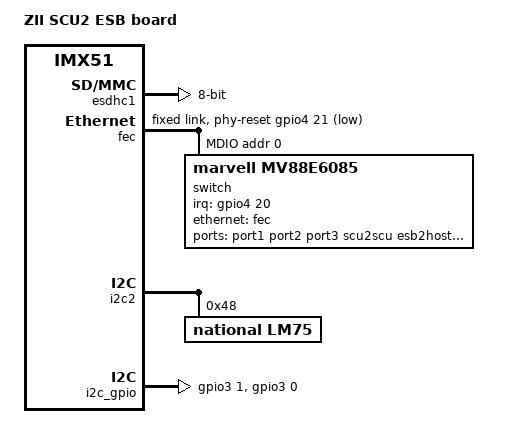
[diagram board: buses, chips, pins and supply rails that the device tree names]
// SPDX-License-Identifier: (GPL-2.0 OR MIT)
// Copyright (C) 2018 Zodiac Inflight Innovations

/dts-v1/;
#include "imx51-zii-common.dtsi"

/ {
	model = "ZII SCU2 ESB board";
	compatible = "zii,imx51-scu2-esb", "fsl,imx51";
};

&esdhc1 {
	pinctrl-names = "default";
	pinctrl-0 = <&pinctrl_esdhc1_4bit &pinctrl_esdhc1_8bit>;
	bus-width = <8>;
};

&fec {
	phy-reset-gpios = <&gpio4 21 GPIO_ACTIVE_LOW>;

	fixed-link {
		speed = <100>;
		full-duplex;
	};

	fec_mdio: mdio {
		#address-cells = <1>;
		#size-cells = <0>;
		status = "okay";

		switch@0 {
			compatible = "marvell,mv88e6085";
			reg = <0>;
			dsa,member = <0 0>;
			eeprom-length = <512>;
			interrupt-parent = <&gpio4>;
			interrupts = <20 IRQ_TYPE_LEVEL_HIGH>;
			interrupt-controller;
			#interrupt-cells = <2>;

			ports {
				#address-cells = <1>;
				#size-cells = <0>;

				port@0 {
					reg = <0>;
					label = "port1";
				};

				port@1 {
					reg = <1>;
					label = "port2";
				};

				port@2 {
					reg = <2>;
					label = "port3";
				};

				port@3 {
					reg = <3>;
					label = "scu2scu";
				};

				port@4 {
					reg = <4>;
					label = "esb2host";
				};
				port@5 {
					reg = <5>;
					label = "esb2mezz";
					phy-mode = "sgmii";

					fixed-link {
						speed = <1000>;
						full-duplex;
					};
				};
				port@6 {
					reg = <6>;
					label = "cpu";
					phy-mode = "mii";
					ethernet = <&fec>;

					fixed-link {
						speed = <100>;
						full-duplex;
					};
				};
			};
		};
	};
};

&i2c2 {
	lm75@48 {
		compatible = "national,lm75";
		reg = <0x48>;
	};
};

&i2c_gpio {
	gpios = <&gpio3 1 GPIO_ACTIVE_HIGH>, /* sda */
		<&gpio3 0 GPIO_ACTIVE_HIGH>; /* scl */
};

&ipu {
	status = "disabled";
};

&usb_vbus {
	pinctrl-names = "default";
	pinctrl-0 = <&pinctrl_usb_mmc_reset>;
	gpio = <&gpio4 19 GPIO_ACTIVE_LOW>;
	startup-delay-us = <150000>;
};

&iomuxc {
	pinctrl_fec: fecgrp {
		fsl,pins = <
			MX51_PAD_DISP2_DAT15__FEC_TDATA0	0x2004
			MX51_PAD_DISP2_DAT6__FEC_TDATA1		0x2004
			MX51_PAD_DISP2_DAT7__FEC_TDATA2		0x2004
			MX51_PAD_DISP2_DAT8__FEC_TDATA3		0x2004
			MX51_PAD_DISP2_DAT9__FEC_TX_EN		0x2004
			MX51_PAD_DISP2_DAT10__FEC_COL		0x0180
			MX51_PAD_DISP2_DAT11__FEC_RX_CLK	0x0180
			MX51_PAD_DISP2_DAT12__FEC_RX_DV		0x20a4
			MX51_PAD_DISP2_DAT13__FEC_TX_CLK	0x2180
			MX51_PAD_DISP2_DAT14__FEC_RDATA0	0x2180
			MX51_PAD_DI2_DISP_CLK__FEC_RDATA1	0x0085
			MX51_PAD_DI_GP4__FEC_RDATA2		0x0085
			MX51_PAD_DISP2_DAT0__FEC_RDATA3		0x0085
			MX51_PAD_DI2_PIN2__FEC_MDC		0x2004
			MX51_PAD_DI2_PIN3__FEC_MDIO		0x01f5
			MX51_PAD_DI2_PIN4__FEC_CRS		0x0180
			MX51_PAD_AUD3_BB_FS__GPIO4_21		0x0000
		>;
	};

	pinctrl_swi2c: swi2cgrp {
		fsl,pins = <
			MX51_PAD_DI1_PIN11__GPIO3_0		0x100
			MX51_PAD_DI1_PIN12__GPIO3_1		0x100
		>;
	};

	pinctrl_uart1: uart1grp {
		fsl,pins = <
			MX51_PAD_UART1_RXD__UART1_RXD		0x1c5
			MX51_PAD_UART1_TXD__UART1_TXD		0x1c5
			MX51_PAD_UART1_RTS__UART1_RTS		0x1c5
			MX51_PAD_UART1_CTS__UART1_CTS		0x1c5
		>;
	};

	pinctrl_uart2: uart2grp {
		fsl,pins = <
			MX51_PAD_UART2_RXD__UART2_RXD		0x1c5
			MX51_PAD_UART2_TXD__UART2_TXD		0x1c5
			MX51_PAD_USBH1_DATA0__UART2_CTS		0x1c5
			MX51_PAD_USBH1_DATA3__UART2_RTS		0x1c5
		>;
	};

	pinctrl_uart3: uart3grp {
		fsl,pins = <
			MX51_PAD_UART3_RXD__UART3_RXD		0x1c5
			MX51_PAD_UART3_TXD__UART3_TXD		0x1c5
		>;
	};

	pinctrl_usb_mmc_reset: usbmmcgrp {
		fsl,pins = <
			MX51_PAD_AUD3_BB_RXD__GPIO4_19		0x100
		>;
	};
};
